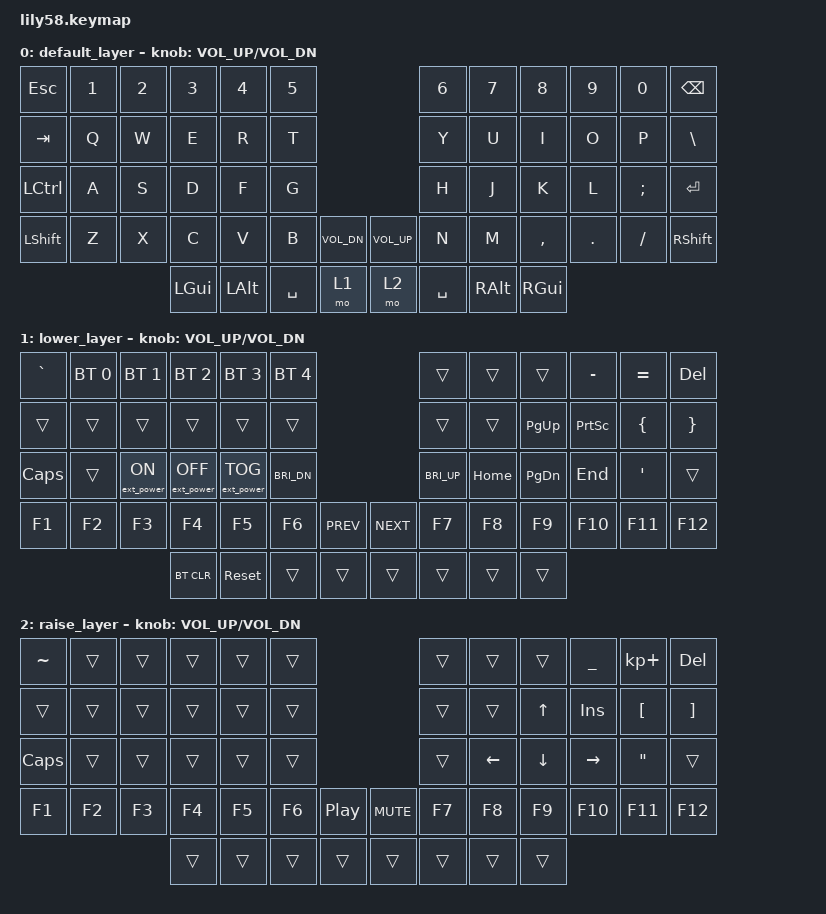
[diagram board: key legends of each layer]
#include <behaviors.dtsi>
#include <dt-bindings/zmk/keys.h>
#include <dt-bindings/zmk/bt.h>
#include <dt-bindings/zmk/ext_power.h>

/ {
	keymap {
		compatible = "zmk,keymap";

		default_layer {
			bindings = <
&kp ESC   &kp N1 &kp N2 &kp N3   &kp N4   &kp N5                             &kp N6 &kp N7   &kp N8    &kp N9  &kp N0   &kp BSPC
&kp TAB   &kp Q  &kp W  &kp E    &kp R    &kp T                              &kp Y  &kp U    &kp I     &kp O   &kp P    &kp BSLH
&kp LCTRL &kp A  &kp S  &kp D    &kp F    &kp G                              &kp H  &kp J    &kp K     &kp L   &kp SEMI &kp RET
&kp LSHFT &kp Z  &kp X  &kp C    &kp V    &kp B  &kp C_VOL_DN   &kp C_VOL_UP &kp N  &kp M    &kp COMMA &kp DOT &kp FSLH &kp RSHFT
                     &kp LGUI &kp LALT  &kp SPACE  &mo 1             &mo 2 &kp SPACE &kp RALT &kp RGUI
			>;
			sensor-bindings = <&inc_dec_kp C_VOL_UP C_VOL_DN>;
		};
		lower_layer {
			bindings = <

&kp GRAVE &bt BT_SEL 0      &bt BT_SEL 1      &bt BT_SEL 2      &bt BT_SEL 3       &bt BT_SEL 4                         &trans          &trans    &trans          &kp MINUS  &kp EQUAL &kp DEL
&trans    &trans            &trans            &trans            &trans             &trans                               &trans          &trans    &kp PG_UP       &kp PSCRN  &kp LBRC  &kp RBRC
&kp CAPS  &trans             &ext_power EP_ON  &ext_power EP_OFF &ext_power EP_TOG &kp C_BRI_DN                         &kp C_BRI_UP    &kp HOME  &kp PG_DN       &kp END    &kp SQT   &trans
&kp F1    &kp F2            &kp F3            &kp F4            &kp F5             &kp F6        &kp C_PREV  &kp C_NEXT &kp F7          &kp F8    &kp F9          &kp F10    &kp F11   &kp F12
                                              &bt BT_CLR        &sys_reset             &trans        &trans   &trans    &trans    &trans    &trans
			>;
			sensor-bindings = <&inc_dec_kp C_VOL_UP C_VOL_DN>;
		};
		raise_layer {
			bindings = <
      
&kp TILDE &trans &trans &trans  &trans  &trans                       &trans      &trans    &trans    &kp UNDER  &kp KP_PLUS &kp DEL
&trans    &trans &trans &trans  &trans  &trans                       &trans      &trans    &kp UP    &kp INS    &kp LBKT    &kp RBKT
&kp CAPS  &trans &trans &trans  &trans  &trans                       &trans      &kp LEFT  &kp DOWN  &kp RIGHT  &kp DQT     &trans
&kp F1    &kp F2 &kp F3 &kp F4  &kp F5  &kp F6    &kp C_PP   &kp C_MUTE    &kp F7      &kp F8    &kp F9    &kp F10    &kp F11     &kp F12
                        &trans  &trans  &trans    &trans   &trans    &trans      &trans    &trans

			>;
			sensor-bindings = <&inc_dec_kp C_VOL_UP C_VOL_DN>;
		};
	};
};

